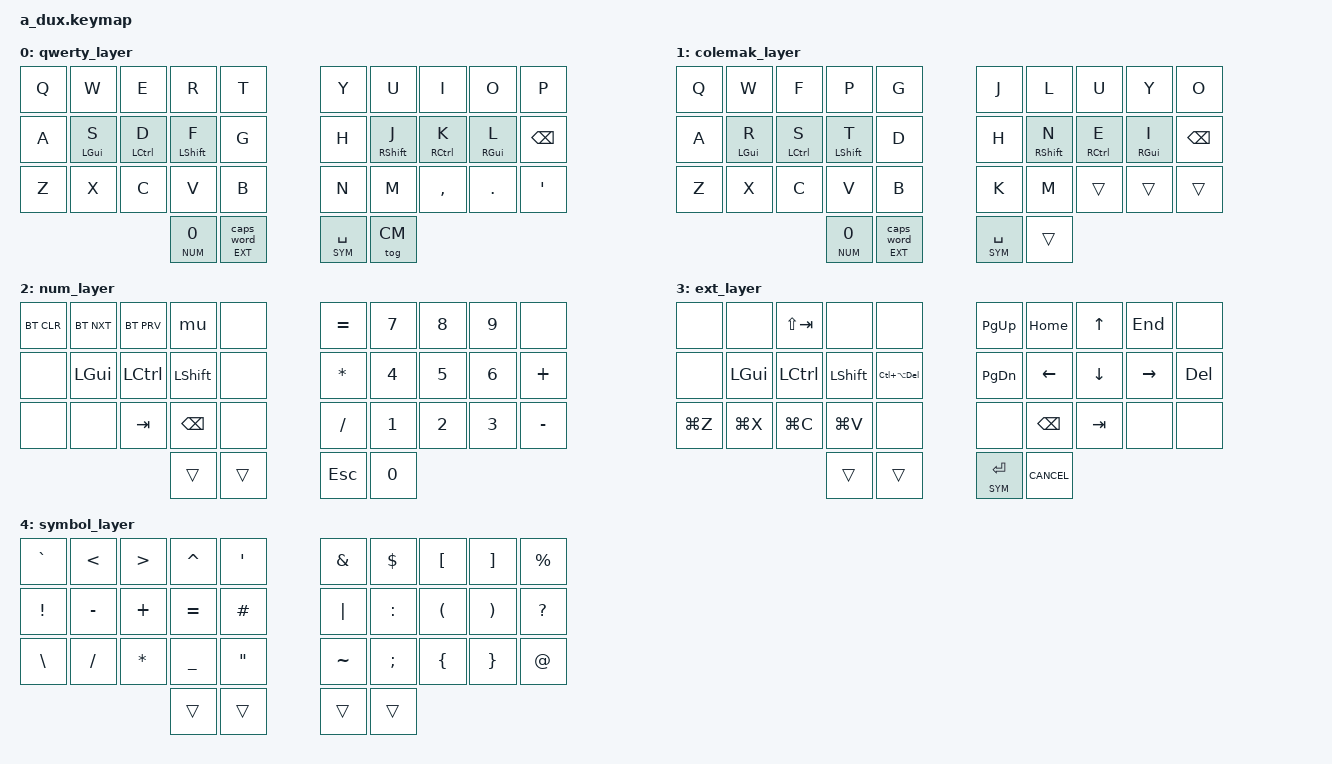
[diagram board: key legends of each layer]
/*
 * Copyright (c) 2022 The ZMK Contributors
 *
 * SPDX-License-Identifier: MIT
 */

#include <behaviors.dtsi>
#include <dt-bindings/zmk/keys.h>
#include <dt-bindings/zmk/bt.h>

#include "./keypos_34keys.h"
#include "./base.keymap"

#define XXX &none
#define ___ &trans

#define QWERTY 0
#define CM   1
#define NUM  2
#define EXT  3
#define SYM  4


#define SHIFTED_BEHAVIOR(name, unshifted, shifted) \
        name: name { \
            compatible = "zmk,behavior-mod-morph"; \
            #binding-cells = <0>; \
            label = #name; \
            bindings = <&kp unshifted>, <&kp shifted>; \
            mods = <(MOD_LSFT|MOD_RSFT)>; \
        };

#define HOME_ROW_MOD(name, trigger_key_positions) \
        name: name { \
            compatible = "zmk,behavior-hold-tap"; \
            #binding-cells = <2>; \
            flavor = "balanced"; \
            tapping-term-ms = <280>; \
            require-prior-idle-ms = <50>; \
            bindings = <&kp>, <&kp>; \
            hold-trigger-on-release; \
            hold-trigger-key-positions = <trigger_key_positions>; \
        };

/ {

    behaviors {
        SHIFTED_BEHAVIOR(dotGt,     DOT,  GT)
        SHIFTED_BEHAVIOR(cmmaLt,    CMMA, LT)
        SHIFTED_BEHAVIOR(quotDquot, SQT,  DQT)
        SHIFTED_BEHAVIOR(semiCol,   SEMI, COLON)

        HOME_ROW_MOD(hml, KEYS_R THUMBS)
        HOME_ROW_MOD(hmr, KEYS_L THUMBS)

        lt_cw: layer_tap_caps_word {
            compatible = "zmk,behavior-hold-tap";
            #binding-cells = <2>;
            label = "LAYER_TAP_CAPS_WORD";
            bindings = <&mo>, <&caps_word>;
            flavor = "balanced";
            tapping-term-ms = <200>;
            require-prior-idle-ms = <50>;
        };
    };

    combos {
        compatible = "zmk,combos";
        combo_z {
            timeout-ms = <50>;
            key-positions = <LT4 LT3>;
            bindings = <&kp Z>;
        };

        combo_q {
            timeout-ms = <50>;
            key-positions = <LT4 LT2>;
            bindings = <&kp Q>;
        };

        combo_bootloader_left {
            timeout-ms = <50>;
            key-positions = <LT3 LM3 LB3>;
            bindings = <&bootloader>;
        };

        combo_bootloader_right {
            timeout-ms = <50>;
            key-positions = <RT3 RM3 RB3>;
            bindings = <&bootloader>;
        };

        combo_reset_left {
            timeout-ms = <50>;
            key-positions = <LT4 LM4 LB4>;
            bindings = <&sys_reset>;
        };

        combo_reset_right {
            timeout-ms = <50>;
            key-positions = <RT4 RM4 RB4>;
            bindings = <&sys_reset>;
        };
    };

    keymap {
        compatible = "zmk,keymap";

        qwerty_layer {
        bindings = <
        //╭──────────┬──────────┬──────────┬──────────┬──────────╮   ╭──────────┬──────────┬──────────┬──────────┬──────────╮
             &kp Q      &kp W      &kp E      &kp R      &kp T          &kp Y      &kp U      &kp I      &kp O      &kp P
        //├──────────┼──────────┼──────────┼──────────┼──────────┤   ├──────────┼──────────┼──────────┼──────────┼──────────┤
             &kp A   &hml LGUI S &hml LCTRL D &hml LSHIFT F &kp G     &kp H   &hmr RSHIFT J &hmr RCTRL K &hmr RGUI L  &kp BSPC
        //├──────────┼──────────┼──────────┼──────────┼──────────┤   ├──────────┼──────────┼──────────┼──────────┼──────────┤
             &kp Z      &kp X      &kp C      &kp V      &kp B          &kp N      &kp M     &kp CMMA   &kp DOT     &kp SQT
        //╰──────────┴──────────┴──────────┼──────────┼──────────┤   ├──────────┼──────────┼──────────┴──────────┴──────────╯
                                          &lt NUM 0   &lt_cw EXT 0    &lt SYM SPC  &tog CM
        //                                 ╰──────────┴──────────╯   ╰──────────┴──────────╯
        >;
        };

        colemak_layer {
        bindings = <
        //╭──────────┬──────────┬──────────┬──────────┬──────────╮   ╭──────────┬──────────┬──────────┬──────────┬──────────╮
             &kp Q      &kp W      &kp F      &kp P      &kp G          &kp J      &kp L      &kp U      &kp Y     &kp O
        //├──────────┼──────────┼──────────┼──────────┼──────────┤   ├──────────┼──────────┼──────────┼──────────┼──────────┤
             &kp A   &hml LGUI R &hml LCTRL S &hml LSHIFT T &kp D      &kp H  &hmr RSHIFT N &hmr RCTRL E &hmr RGUI I &kp BSPC
        //├──────────┼──────────┼──────────┼──────────┼──────────┤   ├──────────┼──────────┼──────────┼──────────┼──────────┤
             &kp Z      &kp X      &kp C      &kp V      &kp B          &kp K      &kp M       ___        ___        ___
        //╰──────────┴──────────┴──────────┼──────────┼──────────┤   ├──────────┼──────────┼──────────┴──────────┴──────────╯
                                           &lt NUM 0   &lt_cw EXT 0   &lt SYM SPC   ___
        //                                 ╰──────────┴──────────╯   ╰──────────┴──────────╯
        >;
        };

        num_layer {
        bindings = <
        //╭──────────┬──────────┬──────────┬──────────┬──────────╮   ╭──────────┬──────────┬──────────┬──────────┬──────────╮
           &bt BT_CLR &bt BT_NXT &bt BT_PRV    &mu        XXX          &kp EQUAL   &kp N7     &kp N8     &kp N9      XXX
        //├──────────┼──────────┼──────────┼──────────┼──────────┤   ├──────────┼──────────┼──────────┼──────────┼──────────┤
              XXX      &kp LGUI   &kp LCTRL  &kp LSHFT    XXX          &kp STAR    &kp N4     &kp N5     &kp N6    &kp PLUS
        //├──────────┼──────────┼──────────┼──────────┼──────────┤   ├──────────┼──────────┼──────────┼──────────┼──────────┤
              XXX        XXX      &kp TAB    &kp BSPC     XXX          &kp FSLH    &kp N1     &kp N2     &kp N3    &kp MINUS
        //╰──────────┴──────────┴──────────┼──────────┼──────────┤   ├──────────┼──────────┼──────────┴──────────┴──────────╯
                                             ___        ___             &kp ESC    &kp N0
        //                                 ╰──────────┴──────────╯   ╰──────────┴──────────╯
        >;
        };

        ext_layer {
        bindings = <
        //╭──────────┬──────────┬──────────┬──────────┬──────────╮   ╭──────────┬──────────┬──────────┬──────────┬──────────╮
               XXX        XXX    &kp LS(TAB)   XXX        XXX          &kp PG_UP  &kp HOME    &kp UP    &kp END      XXX
        //├──────────┼──────────┼──────────┼──────────┼──────────┤   ├──────────┼──────────┼──────────┼──────────┼──────────┤
              XXX      &kp LGUI   &kp LCTRL  &kp LSHFT &kp LC(LA(DEL)) &kp PG_DN  &kp LEFT   &kp DOWN   &kp RIGHT  &kp DEL
        //├──────────┼──────────┼──────────┼──────────┼──────────┤   ├──────────┼──────────┼──────────┼──────────┼──────────┤
            &kp LG(Z)  &kp LG(X)  &kp LG(C)  &kp LG(V)    XXX            XXX      &kp BSPC   &kp TAB      XXX        XXX
        //╰──────────┴──────────┴──────────┼──────────┼──────────┤   ├──────────┼──────────┼──────────┴──────────┴──────────╯
                                               ___        ___        &lt SYM RET &kp K_CANCEL
        //                                 ╰──────────┴──────────╯   ╰──────────┴──────────╯
        >;
        };

        symbol_layer {
        bindings = <
        //╭──────────┬──────────┬──────────┬──────────┬──────────╮   ╭──────────┬──────────┬──────────┬──────────┬──────────╮
            &kp GRAVE   &kp LT     &kp GT    &kp CARET  &kp SQT        &kp AMPS   &kp DLLR   &kp LBKT   &kp RBKT   &kp PRCNT
        //├──────────┼──────────┼──────────┼──────────┼──────────┤   ├──────────┼──────────┼──────────┼──────────┼──────────┤
            &kp EXCL  &kp MINUS   &kp PLUS   &kp EQUAL  &kp HASH       &kp PIPE   &kp COLON  &kp LPAR   &kp RPAR   &kp QMARK
        //├──────────┼──────────┼──────────┼──────────┼──────────┤   ├──────────┼──────────┼──────────┼──────────┼──────────┤
            &kp BSLH   &kp FSLH   &kp STAR   &kp UNDER  &kp DQT        &kp TILDE  &kp SEMI   &kp LBRC   &kp RBRC    &kp AT
        //╰──────────┴──────────┴──────────┼──────────┼──────────┤   ├──────────┼──────────┼──────────┴──────────┴──────────╯
                                                ___        ___            ___        ___
        //                                 ╰──────────┴──────────╯   ╰──────────┴──────────╯
        >;
        };
    };
};
